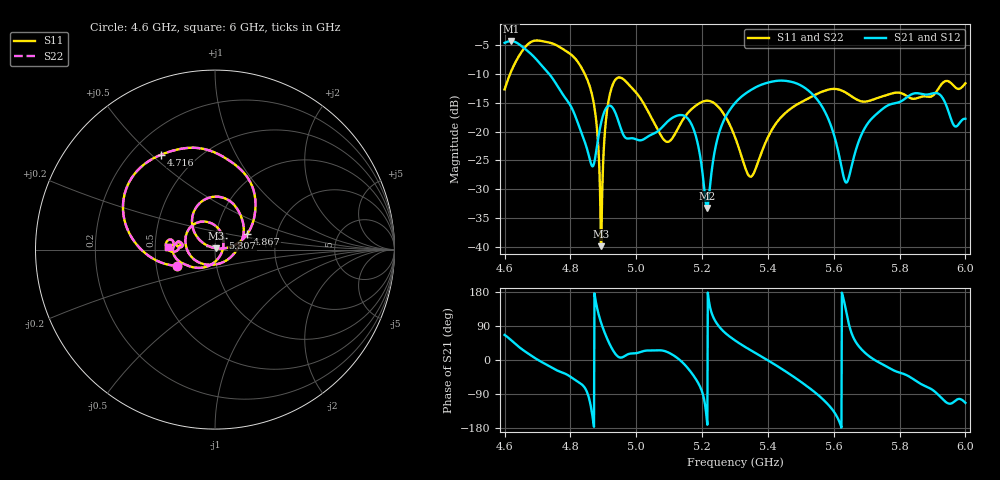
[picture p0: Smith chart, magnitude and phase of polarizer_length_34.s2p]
! TOUCHSTONE file generated by CST MICROWAVE STUDIO
! Date and time: Sun Dec  1 17:16:54 2024
! Project name: test_tuning.cst
! Parameters = {airCoaxOuterDiameter=3; chamferAngle=45; chamferWidth=24; connectorLength=10; drillingHoleDiameter=4.1; feedLength=60; flareDiameter=130; flareLength=70; gratingDistance=0; gratingGap=1.90274; outletLength=30; polarizerLength=130; probe1Diameter=1.3; probe1Distance=14; probe1Length=1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
! Header version: 2024
! Port assignment regex: !\s*Touchstone port\s*([0-9]+)\s*=\s*(CST MWS port|CST DES external port|CST DES block port)\s*(.+)\s* \(\"(.*)\"\)(\s*mode\s*([0-9]+))?.*
! Touchstone port assignment:
! Touchstone port 1 = CST MWS port 1 ("Input1")
! Touchstone port 2 = CST MWS port 2 ("Input2")
# GHz S MA R 50
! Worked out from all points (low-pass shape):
!   1001 points, 4.6 GHz to 6 GHz, reference 50 ohm
!   highest |S21| = -4.29 dB at 4.62 GHz (marker M1); lowest = -33.2 dB at 5.215 GHz (marker M2)
!   |S21| within 3 dB of the highest: start of sweep to 4.694 GHz
!   lowest |S11| = -39.9 dB at 4.893 GHz (marker M3), VSWR 1.02, Z = 50.7 + j0.738 ohm
!   |S11| at or under -10 dB: start of sweep to 4.616645 GHz; 4.844 GHz to end of sweep
!   |S22| runs from -39.9 to -4.2 dB; largest |S21 - S12| = 3.9e-07
!   S11 on the Smith chart (normalised r, x): 4.6 GHz: 0.64, -0.12; 4.716 GHz: 0.32, +0.54; 4.867 GHz: 1.41, +0.25; 5.307 GHz: 1.08, +0.14; 6 GHz: 0.58, +0.02
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4.6  0.2323 -157.1  0.5888 66.1  0.5888 66.1  0.2323 -157.1
4.6196  0.3315 -169.4  0.6101 52.6  0.6101 52.6  0.3315 -169.4
4.6686  0.5656 155.0  0.504 18.7  0.504 18.7  0.5656 155.0
4.7162  0.608 119.6  0.3651 -6.9  0.3651 -6.9  0.608 119.6
4.8338  0.3574 51.1  0.09698 -64.0  0.09698 -64.0  0.3574 51.1
4.8674  0.1981 25.5  0.04996 -151.5  0.04996 -151.5  0.1981 25.5
4.8926  0.01015 45.8  0.1173 99.9  0.1173 99.9  0.01015 45.8
4.9122  0.1592 138.3  0.165 55.1  0.165 55.1  0.1592 138.3
4.9388  0.2868 100.2  0.1405 13.7  0.1405 13.7  0.2868 100.2
5.0676  0.1007 -20.8  0.102 25.6  0.102 25.6  0.1007 -20.8
5.1614  0.1502 -174.8  0.1248 -26.6  0.1248 -26.6  0.1502 -174.8
5.2146  0.1855 139.2  0.02178 -159.1  0.02178 -159.1  0.1855 139.2
5.2496  0.1637 108.3  0.0932 90.6  0.0932 90.6  0.1637 108.3
5.3  0.08977 63.6  0.1768 51.7  0.1768 51.7  0.08977 63.6
5.307  0.07907 56.1  0.186 47.6  0.186 47.6  0.07907 56.1
5.3504  0.04099 -30.2  0.2316 24.4  0.2316 24.4  0.04099 -30.2
5.4274  0.1209 -123.9  0.2759 -15.4  0.2759 -15.4  0.1209 -123.9
5.5338  0.202 -159.1  0.2132 -79.1  0.2132 -79.1  0.202 -159.1
5.6374  0.2174 170.7  0.03617 129.6  0.03617 129.6  0.2174 170.7
5.7676  0.2106 174.9  0.1706 -21.0  0.1706 -21.0  0.2106 174.9
5.9118  0.2222 -177.2  0.2161 -87.0  0.2161 -87.0  0.2222 -177.2
6  0.2626 176.6  0.1293 -112.9  0.1293 -112.9  0.2626 176.6
